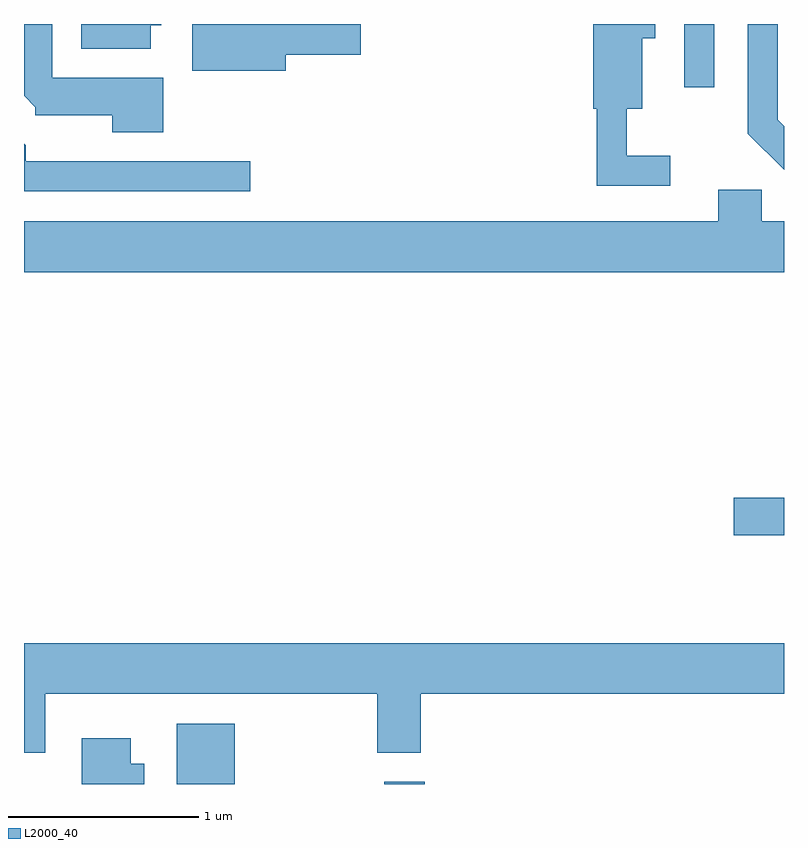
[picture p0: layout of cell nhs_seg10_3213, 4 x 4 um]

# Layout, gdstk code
import gdstk
lib = gdstk.Library(unit=1e-6, precision=1e-09)
def R(c, l, rs):  # rectangles x0, y0, x1, y1
    for r in rs: c.add(gdstk.rectangle(r[:2], r[2:], *l))
def P(c, l, *ps):  # polygons
    for p in ps: c.add(gdstk.Polygon(p, *l))
L2000_40 = (2000, 40)

nhs_seg10_3213 = lib.new_cell('nhs_seg10_3213')
R(nhs_seg10_3213, L2000_40, [(280.416,2144.522,280.719,2144.839), (281.506,2144.522,281.72,2144.534), (283.346,2145.831,283.611,2146.029), (283.086,2148.188,283.244,2148.522)])
P(nhs_seg10_3213, L2000_40, [(280.279,2148.516),(280.334,2148.516),(280.334,2148.522),(279.911,2148.522),(279.911,2148.391),(280.279,2148.391)],
  [(280.989,2148.361),(281.384,2148.361),(281.384,2148.522),(280.496,2148.522),(280.496,2148.276),(280.989,2148.276)],
  [(280.344,2148.239),(279.759,2148.239),(279.759,2148.522),(279.611,2148.522),(279.611,2148.144),(279.671,2148.084),(279.671,2148.041),(280.076,2148.041),(280.076,2147.951),(280.344,2147.951)],
  [(283.611,2147.985),(283.579,2148.017),(283.579,2148.522),(283.421,2148.522),(283.421,2147.944),(283.611,2147.754)],
  [(283.013,2147.829),(282.784,2147.829),(282.784,2148.076),(282.864,2148.076),(282.864,2148.446),(282.934,2148.446),(282.934,2148.522),(282.606,2148.522),(282.606,2148.076),(282.626,2148.076),(282.626,2147.671),(283.013,2147.671)],
  [(280.803,2147.799),(279.619,2147.799),(279.619,2147.884),(279.611,2147.892),(279.611,2147.641),(280.803,2147.641)],
  [(283.611,2147.484),(283.494,2147.484),(283.494,2147.649),(283.266,2147.649),(283.266,2147.484),(279.611,2147.484),(279.611,2147.216),(283.611,2147.216)],
  [(279.724,2144.996),(281.471,2144.996),(281.471,2144.686),(281.699,2144.686),(281.699,2144.996),(283.611,2144.996),(283.611,2145.264),(279.611,2145.264),(279.611,2144.686),(279.724,2144.686)],
  [(280.244,2144.629),(280.174,2144.629),(280.174,2144.764),(279.916,2144.764),(279.916,2144.522),(280.244,2144.522)])

lib.write_gds('nhs_seg10_3213.gds')
